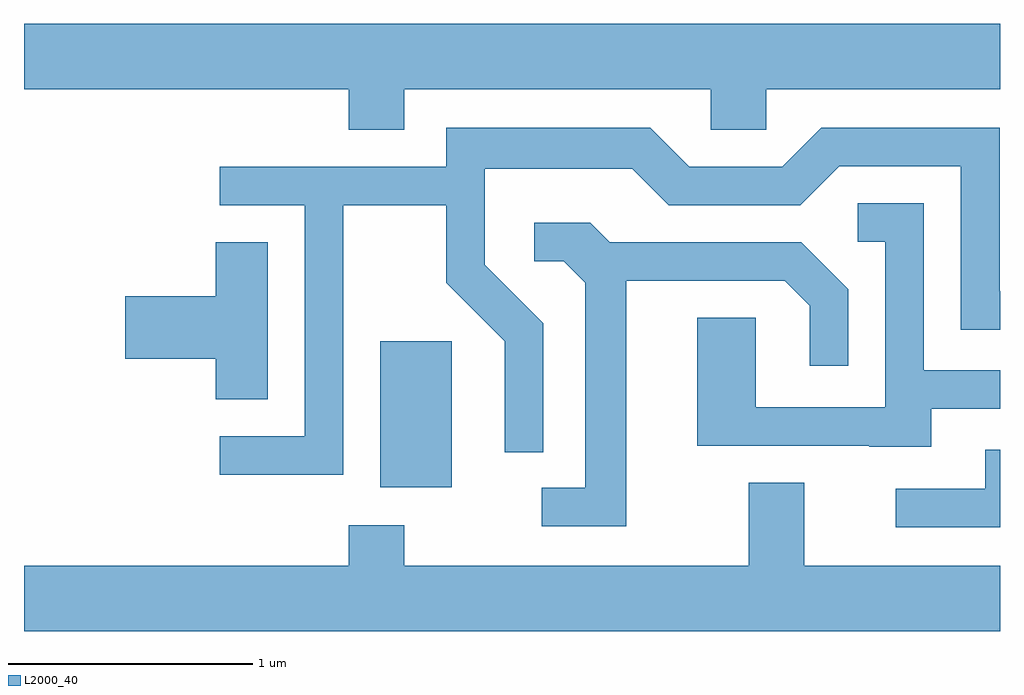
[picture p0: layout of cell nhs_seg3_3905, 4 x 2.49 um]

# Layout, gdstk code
import gdstk
lib = gdstk.Library(unit=1e-6, precision=1e-09)
def R(c, l, rs):  # rectangles x0, y0, x1, y1
    for r in rs: c.add(gdstk.rectangle(r[:2], r[2:], *l))
def P(c, l, *ps):  # polygons
    for p in ps: c.add(gdstk.Polygon(p, *l))
L2000_40 = (2000, 40)

nhs_seg3_3905 = lib.new_cell('nhs_seg3_3905')
R(nhs_seg3_3905, L2000_40, [(301.071,1175.446,301.364,1176.044)])
P(nhs_seg3_3905, L2000_40, [(301.169,1177.076),(302.426,1177.076),(302.426,1176.911),(302.654,1176.911),(302.654,1177.076),(303.611,1177.076),(303.611,1177.344),(299.611,1177.344),(299.611,1177.076),(300.941,1177.076),(300.941,1176.911),(301.169,1176.911)],
  [(300.919,1176.601),(301.341,1176.601),(301.341,1176.284),(301.581,1176.044),(301.581,1175.588),(301.739,1175.588),(301.739,1176.117),(301.499,1176.357),(301.499,1176.751),(302.104,1176.751),(302.254,1176.601),(302.792,1176.601),(302.952,1176.761),(303.451,1176.761),(303.451,1176.091),(303.611,1176.091),(303.611,1176.249),(303.609,1176.249),(303.609,1176.919),(302.879,1176.919),(302.719,1176.759),(302.337,1176.759),(302.177,1176.919),(301.341,1176.919),(301.341,1176.759),(300.413,1176.759),(300.413,1176.601),(300.761,1176.601),(300.761,1175.654),(300.413,1175.654),(300.413,1175.496),(300.919,1175.496)],
  [(303.329,1175.766),(303.611,1175.766),(303.611,1175.924),(303.299,1175.924),(303.299,1176.609),(303.028,1176.609),(303.028,1176.451),(303.141,1176.451),(303.141,1175.774),(302.609,1175.774),(302.609,1176.139),(302.371,1176.139),(302.371,1175.616),(303.075,1175.616),(303.075,1175.611),(303.329,1175.611)],
  [(302.079,1176.291),(302.729,1176.291),(302.831,1176.189),(302.831,1175.943),(302.989,1175.943),(302.989,1176.257),(302.797,1176.449),(302.012,1176.449),(301.932,1176.529),(301.703,1176.529),(301.703,1176.371),(301.824,1176.371),(301.911,1176.284),(301.911,1175.444),(301.733,1175.444),(301.733,1175.286),(302.079,1175.286)],
  [(300.609,1176.449),(300.396,1176.449),(300.396,1176.229),(300.026,1176.229),(300.026,1175.971),(300.396,1175.971),(300.396,1175.806),(300.609,1175.806)],
  [(303.611,1175.599),(303.551,1175.599),(303.551,1175.439),(303.183,1175.439),(303.183,1175.281),(303.611,1175.281)],
  [(303.611,1175.124),(302.809,1175.124),(302.809,1175.464),(302.581,1175.464),(302.581,1175.124),(301.169,1175.124),(301.169,1175.289),(300.941,1175.289),(300.941,1175.124),(299.611,1175.124),(299.611,1174.856),(303.611,1174.856)])

lib.write_gds('nhs_seg3_3905.gds')
